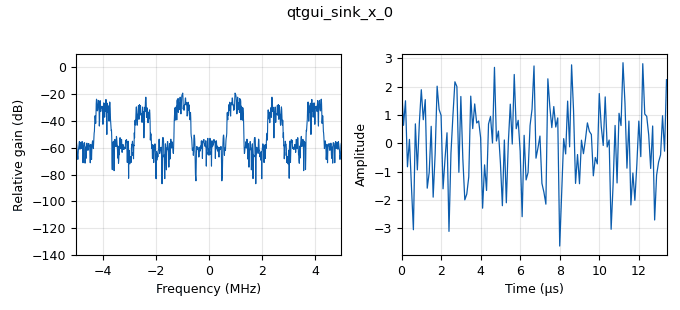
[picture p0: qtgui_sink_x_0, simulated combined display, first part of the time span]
<?xml version='1.0' encoding='utf-8'?>
<?grc format='1' created='3.7.12'?>
<flow_graph>
<block>
<key>options</key>
<param><key>id</key><value>top_block</value></param>
<param><key>generate_options</key><value>qt_gui</value></param>
<param><key>run_options</key><value>run</value></param>
</block>
<block>
<key>variable</key>
<param><key>id</key><value>samp_rate</value></param>
<param><key>value</key><value>int(1E6)</value></param>
</block>
<block>
<key>variable</key>
<param><key>id</key><value>up_sample</value></param>
<param><key>value</key><value>int(10E6)</value></param>
</block>
<block>
<key>variable_constellation</key>
<param><key>id</key><value>variable_constellation_0</value></param>
<param><key>const_points</key><value>[-1-1j, -1+1j, 1+1j, 1-1j]</value></param>
<param><key>type</key><value>calcdist</value></param>
<param><key>dims</key><value>1</value></param>
<param><key>rot_sym</key><value>4</value></param>
<param><key>precision</key><value>8</value></param>
<param><key>sym_map</key><value>[0, 1, 3, 2]</value></param>
</block>
<block>
<key>variable_constellation</key>
<param><key>id</key><value>variable_constellation_1</value></param>
<param><key>type</key><value>16qam</value></param>
<param><key>precision</key><value>8</value></param>
</block>
<block>
<key>variable_constellation</key>
<param><key>id</key><value>variable_constellation_2</value></param>
<param><key>type</key><value>8psk</value></param>
<param><key>precision</key><value>8</value></param>
</block>
<block>
<key>analog_random_source_x</key>
<param><key>id</key><value>analog_random_source_x_0</value></param>
<param><key>max</key><value>255</value></param>
<param><key>min</key><value>0</value></param>
<param><key>num_samps</key><value>1000</value></param>
<param><key>type</key><value>byte</value></param>
<param><key>repeat</key><value>True</value></param>
</block>
<block>
<key>analog_random_source_x</key>
<param><key>id</key><value>analog_random_source_x_1</value></param>
<param><key>max</key><value>255</value></param>
<param><key>min</key><value>0</value></param>
<param><key>num_samps</key><value>1000</value></param>
<param><key>type</key><value>byte</value></param>
<param><key>repeat</key><value>True</value></param>
</block>
<block>
<key>analog_random_source_x</key>
<param><key>id</key><value>analog_random_source_x_2</value></param>
<param><key>max</key><value>255</value></param>
<param><key>min</key><value>0</value></param>
<param><key>num_samps</key><value>1000</value></param>
<param><key>type</key><value>byte</value></param>
<param><key>repeat</key><value>True</value></param>
</block>
<block>
<key>analog_sig_source_x</key>
<param><key>id</key><value>analog_sig_source_x_0</value></param>
<param><key>amp</key><value>1</value></param>
<param><key>freq</key><value>4E6</value></param>
<param><key>offset</key><value>0</value></param>
<param><key>type</key><value>complex</value></param>
<param><key>samp_rate</key><value>up_sample</value></param>
<param><key>waveform</key><value>analog.GR_COS_WAVE</value></param>
</block>
<block>
<key>analog_sig_source_x</key>
<param><key>id</key><value>analog_sig_source_x_1</value></param>
<param><key>amp</key><value>.7</value></param>
<param><key>freq</key><value>2.5E6</value></param>
<param><key>offset</key><value>0</value></param>
<param><key>type</key><value>complex</value></param>
<param><key>samp_rate</key><value>up_sample</value></param>
<param><key>waveform</key><value>analog.GR_COS_WAVE</value></param>
</block>
<block>
<key>analog_sig_source_x</key>
<param><key>id</key><value>analog_sig_source_x_2</value></param>
<param><key>amp</key><value>.5</value></param>
<param><key>freq</key><value>1E6</value></param>
<param><key>offset</key><value>0</value></param>
<param><key>type</key><value>complex</value></param>
<param><key>samp_rate</key><value>up_sample</value></param>
<param><key>waveform</key><value>analog.GR_COS_WAVE</value></param>
</block>
<block>
<key>blocks_add_xx</key>
<param><key>id</key><value>blocks_add_xx_0</value></param>
<param><key>type</key><value>complex</value></param>
<param><key>num_inputs</key><value>3</value></param>
</block>
<block>
<key>blocks_complex_to_real</key>
<param><key>id</key><value>blocks_complex_to_real_0</value></param>
</block>
<block>
<key>blocks_file_sink</key>
<param><key>id</key><value>blocks_file_sink_0</value></param>
<param><key>file</key><value>/home/wsrg/verilog/research-ayush/matlab/MU_Detection/pass_band.dat</value></param>
<param><key>type</key><value>float</value></param>
</block>
<block>
<key>blocks_head</key>
<param><key>id</key><value>blocks_head_0</value></param>
<param><key>num_items</key><value>1000000</value></param>
<param><key>type</key><value>float</value></param>
</block>
<block>
<key>blocks_multiply_xx</key>
<param><key>id</key><value>blocks_multiply_xx_0</value></param>
<param><key>type</key><value>complex</value></param>
</block>
<block>
<key>blocks_multiply_xx</key>
<param><key>id</key><value>blocks_multiply_xx_1</value></param>
<param><key>type</key><value>complex</value></param>
</block>
<block>
<key>blocks_multiply_xx</key>
<param><key>id</key><value>blocks_multiply_xx_2</value></param>
<param><key>type</key><value>complex</value></param>
</block>
<block>
<key>blocks_skiphead</key>
<param><key>id</key><value>blocks_skiphead_0</value></param>
<param><key>num_items</key><value>1024</value></param>
<param><key>type</key><value>float</value></param>
</block>
<block>
<key>blocks_throttle</key>
<param><key>id</key><value>blocks_throttle_0</value></param>
<param><key>samples_per_second</key><value>samp_rate</value></param>
<param><key>type</key><value>byte</value></param>
</block>
<block>
<key>blocks_throttle</key>
<param><key>id</key><value>blocks_throttle_1</value></param>
<param><key>samples_per_second</key><value>samp_rate</value></param>
<param><key>type</key><value>byte</value></param>
</block>
<block>
<key>blocks_throttle</key>
<param><key>id</key><value>blocks_throttle_2</value></param>
<param><key>samples_per_second</key><value>samp_rate</value></param>
<param><key>type</key><value>byte</value></param>
</block>
<block>
<key>channels_channel_model</key>
<param><key>id</key><value>channels_channel_model_0</value></param>
<param><key>epsilon</key><value>1.0</value></param>
<param><key>freq_offset</key><value>0.0</value></param>
<param><key>noise_voltage</key><value>0.1</value></param>
<param><key>seed</key><value>0</value></param>
<param><key>taps</key><value>1.0 + 1.0j</value></param>
</block>
<block>
<key>channels_fading_model</key>
<param><key>id</key><value>channels_fading_model_0</value></param>
<param><key>LOS</key><value>False</value></param>
<param><key>fDTs</key><value>0</value></param>
<param><key>N</key><value>4</value></param>
<param><key>seed</key><value>0</value></param>
</block>
<block>
<key>channels_fading_model</key>
<param><key>id</key><value>channels_fading_model_1</value></param>
<param><key>LOS</key><value>False</value></param>
<param><key>fDTs</key><value>0</value></param>
<param><key>N</key><value>8</value></param>
<param><key>seed</key><value>0</value></param>
</block>
<block>
<key>channels_fading_model</key>
<param><key>id</key><value>channels_fading_model_2</value></param>
<param><key>LOS</key><value>False</value></param>
<param><key>fDTs</key><value>0</value></param>
<param><key>N</key><value>12</value></param>
<param><key>seed</key><value>0</value></param>
</block>
<block>
<key>digital_constellation_modulator</key>
<param><key>id</key><value>digital_constellation_modulator_0</value></param>
<param><key>constellation</key><value>variable_constellation_0</value></param>
<param><key>differential</key><value>False</value></param>
<param><key>excess_bw</key><value>0.35</value></param>
<param><key>samples_per_symbol</key><value>2</value></param>
</block>
<block>
<key>digital_constellation_modulator</key>
<param><key>id</key><value>digital_constellation_modulator_1</value></param>
<param><key>constellation</key><value>variable_constellation_1</value></param>
<param><key>differential</key><value>True</value></param>
<param><key>excess_bw</key><value>0.35</value></param>
<param><key>samples_per_symbol</key><value>2</value></param>
</block>
<block>
<key>digital_constellation_modulator</key>
<param><key>id</key><value>digital_constellation_modulator_2</value></param>
<param><key>constellation</key><value>variable_constellation_2</value></param>
<param><key>differential</key><value>True</value></param>
<param><key>excess_bw</key><value>0.35</value></param>
<param><key>samples_per_symbol</key><value>2</value></param>
</block>
<block>
<key>qtgui_sink_x</key>
<param><key>id</key><value>qtgui_sink_x_0</value></param>
<param><key>bw</key><value>up_sample</value></param>
<param><key>fc</key><value>0</value></param>
<param><key>freqchangevar</key><value>None</value></param>
<param><key>fftsize</key><value>1024</value></param>
<param><key>showports</key><value>True</value></param>
<param><key>type</key><value>float</value></param>
<param><key>wintype</key><value>firdes.WIN_BLACKMAN_hARRIS</value></param>
</block>
<block>
<key>rational_resampler_xxx</key>
<param><key>id</key><value>rational_resampler_xxx_0</value></param>
<param><key>decim</key><value>1</value></param>
<param><key>interp</key><value>10</value></param>
<param><key>taps</key><value></value></param>
<param><key>type</key><value>ccc</value></param>
</block>
<block>
<key>rational_resampler_xxx</key>
<param><key>id</key><value>rational_resampler_xxx_1</value></param>
<param><key>decim</key><value>1</value></param>
<param><key>interp</key><value>10</value></param>
<param><key>taps</key><value></value></param>
<param><key>type</key><value>ccc</value></param>
</block>
<block>
<key>rational_resampler_xxx</key>
<param><key>id</key><value>rational_resampler_xxx_2</value></param>
<param><key>decim</key><value>1</value></param>
<param><key>interp</key><value>10</value></param>
<param><key>taps</key><value></value></param>
<param><key>type</key><value>ccc</value></param>
</block>
<connection><source_block_id>analog_random_source_x_0</source_block_id><sink_block_id>blocks_throttle_0</sink_block_id><source_key>0</source_key><sink_key>0</sink_key></connection>
<connection><source_block_id>analog_random_source_x_1</source_block_id><sink_block_id>blocks_throttle_1</sink_block_id><source_key>0</source_key><sink_key>0</sink_key></connection>
<connection><source_block_id>analog_random_source_x_2</source_block_id><sink_block_id>blocks_throttle_2</sink_block_id><source_key>0</source_key><sink_key>0</sink_key></connection>
<connection><source_block_id>analog_sig_source_x_0</source_block_id><sink_block_id>blocks_multiply_xx_0</sink_block_id><source_key>0</source_key><sink_key>0</sink_key></connection>
<connection><source_block_id>analog_sig_source_x_1</source_block_id><sink_block_id>blocks_multiply_xx_1</sink_block_id><source_key>0</source_key><sink_key>1</sink_key></connection>
<connection><source_block_id>analog_sig_source_x_2</source_block_id><sink_block_id>blocks_multiply_xx_2</sink_block_id><source_key>0</source_key><sink_key>1</sink_key></connection>
<connection><source_block_id>blocks_add_xx_0</source_block_id><sink_block_id>channels_channel_model_0</sink_block_id><source_key>0</source_key><sink_key>0</sink_key></connection>
<connection><source_block_id>blocks_complex_to_real_0</source_block_id><sink_block_id>blocks_skiphead_0</sink_block_id><source_key>0</source_key><sink_key>0</sink_key></connection>
<connection><source_block_id>blocks_complex_to_real_0</source_block_id><sink_block_id>qtgui_sink_x_0</sink_block_id><source_key>0</source_key><sink_key>0</sink_key></connection>
<connection><source_block_id>blocks_head_0</source_block_id><sink_block_id>blocks_file_sink_0</sink_block_id><source_key>0</source_key><sink_key>0</sink_key></connection>
<connection><source_block_id>blocks_multiply_xx_0</source_block_id><sink_block_id>blocks_add_xx_0</sink_block_id><source_key>0</source_key><sink_key>0</sink_key></connection>
<connection><source_block_id>blocks_multiply_xx_1</source_block_id><sink_block_id>blocks_add_xx_0</sink_block_id><source_key>0</source_key><sink_key>1</sink_key></connection>
<connection><source_block_id>blocks_multiply_xx_2</source_block_id><sink_block_id>blocks_add_xx_0</sink_block_id><source_key>0</source_key><sink_key>2</sink_key></connection>
<connection><source_block_id>blocks_skiphead_0</source_block_id><sink_block_id>blocks_head_0</sink_block_id><source_key>0</source_key><sink_key>0</sink_key></connection>
<connection><source_block_id>blocks_throttle_0</source_block_id><sink_block_id>digital_constellation_modulator_0</sink_block_id><source_key>0</source_key><sink_key>0</sink_key></connection>
<connection><source_block_id>blocks_throttle_1</source_block_id><sink_block_id>digital_constellation_modulator_1</sink_block_id><source_key>0</source_key><sink_key>0</sink_key></connection>
<connection><source_block_id>blocks_throttle_2</source_block_id><sink_block_id>digital_constellation_modulator_2</sink_block_id><source_key>0</source_key><sink_key>0</sink_key></connection>
<connection><source_block_id>channels_channel_model_0</source_block_id><sink_block_id>blocks_complex_to_real_0</sink_block_id><source_key>0</source_key><sink_key>0</sink_key></connection>
<connection><source_block_id>channels_fading_model_0</source_block_id><sink_block_id>rational_resampler_xxx_0</sink_block_id><source_key>0</source_key><sink_key>0</sink_key></connection>
<connection><source_block_id>channels_fading_model_1</source_block_id><sink_block_id>rational_resampler_xxx_1</sink_block_id><source_key>0</source_key><sink_key>0</sink_key></connection>
<connection><source_block_id>channels_fading_model_2</source_block_id><sink_block_id>rational_resampler_xxx_2</sink_block_id><source_key>0</source_key><sink_key>0</sink_key></connection>
<connection><source_block_id>digital_constellation_modulator_0</source_block_id><sink_block_id>channels_fading_model_0</sink_block_id><source_key>0</source_key><sink_key>0</sink_key></connection>
<connection><source_block_id>digital_constellation_modulator_1</source_block_id><sink_block_id>channels_fading_model_1</sink_block_id><source_key>0</source_key><sink_key>0</sink_key></connection>
<connection><source_block_id>digital_constellation_modulator_2</source_block_id><sink_block_id>channels_fading_model_2</sink_block_id><source_key>0</source_key><sink_key>0</sink_key></connection>
<connection><source_block_id>rational_resampler_xxx_0</source_block_id><sink_block_id>blocks_multiply_xx_0</sink_block_id><source_key>0</source_key><sink_key>1</sink_key></connection>
<connection><source_block_id>rational_resampler_xxx_1</source_block_id><sink_block_id>blocks_multiply_xx_1</sink_block_id><source_key>0</source_key><sink_key>0</sink_key></connection>
<connection><source_block_id>rational_resampler_xxx_2</source_block_id><sink_block_id>blocks_multiply_xx_2</sink_block_id><source_key>0</source_key><sink_key>0</sink_key></connection>
</flow_graph>
